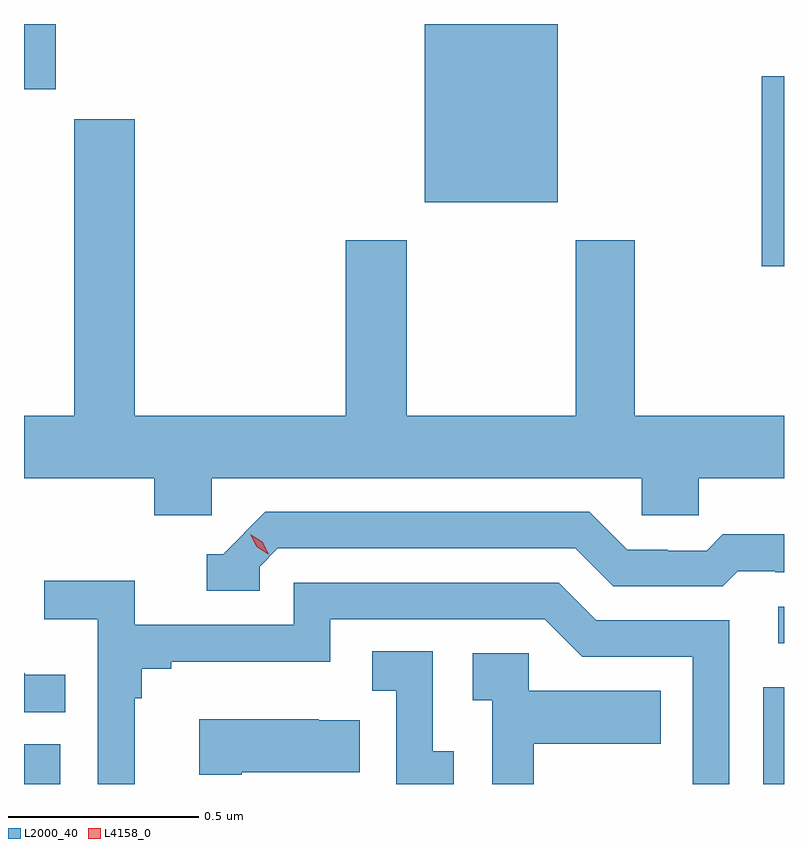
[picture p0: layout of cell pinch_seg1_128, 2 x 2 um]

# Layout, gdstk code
import gdstk
lib = gdstk.Library(unit=1e-6, precision=1e-09)
def R(c, l, rs):  # rectangles x0, y0, x1, y1
    for r in rs: c.add(gdstk.rectangle(r[:2], r[2:], *l))
def P(c, l, *ps):  # polygons
    for p in ps: c.add(gdstk.Polygon(p, *l))
L2000_40 = (2000, 40)
L4158_0 = (4158, 0)

pinch_seg1_128 = lib.new_cell('pinch_seg1_128')
R(pinch_seg1_128, L2000_40, [(1067.17,548.263,1067.266,548.367), (1069.116,548.263,1069.17,548.518), (1069.155,548.634,1069.17,548.73), (1069.112,549.626,1069.17,550.125), (1068.224,549.794,1068.574,550.263), (1067.17,550.091,1067.254,550.263)])
P(pinch_seg1_128, L2000_40, [(1067.664,549.068),(1068.795,549.068),(1068.795,548.97),(1068.945,548.97),(1068.945,549.068),(1069.17,549.068),(1069.17,549.232),(1068.777,549.232),(1068.777,549.694),(1068.622,549.694),(1068.622,549.232),(1068.177,549.232),(1068.177,549.694),(1068.017,549.694),(1068.017,549.232),(1067.462,549.232),(1067.462,550.012),(1067.302,550.012),(1067.302,549.232),(1067.17,549.232),(1067.17,549.068),(1067.513,549.068),(1067.513,548.97),(1067.664,548.97)],
  [(1067.79,548.835),(1067.838,548.883),(1068.621,548.883),(1068.72,548.784),(1069.009,548.784),(1069.048,548.823),(1069.147,548.823),(1069.147,548.82),(1069.17,548.82),(1069.17,548.92),(1069.009,548.92),(1068.967,548.877),(1068.864,548.877),(1068.864,548.88),(1068.757,548.88),(1068.658,548.979),(1067.805,548.979),(1067.694,548.868),(1067.651,548.868),(1067.651,548.772),(1067.79,548.772)],
  [(1067.461,548.489),(1067.48,548.489),(1067.48,548.566),(1067.557,548.566),(1067.557,548.585),(1067.976,548.585),(1067.976,548.697),(1068.54,548.697),(1068.639,548.598),(1068.93,548.598),(1068.93,548.263),(1069.026,548.263),(1069.026,548.694),(1068.676,548.694),(1068.577,548.793),(1067.88,548.793),(1067.88,548.682),(1067.462,548.682),(1067.462,548.798),(1067.223,548.798),(1067.223,548.696),(1067.364,548.696),(1067.364,548.263),(1067.461,548.263)],
  [(1068.301,548.349),(1068.246,548.349),(1068.246,548.612),(1068.087,548.612),(1068.087,548.509),(1068.15,548.509),(1068.15,548.263),(1068.301,548.263)],
  [(1068.511,548.369),(1068.845,548.369),(1068.845,548.509),(1068.498,548.509),(1068.498,548.607),(1068.351,548.607),(1068.351,548.483),(1068.402,548.483),(1068.402,548.263),(1068.511,548.263)],
  [(1067.279,548.551),(1067.175,548.551),(1067.17,548.556),(1067.17,548.452),(1067.279,548.452)],
  [(1067.743,548.294),(1068.053,548.294),(1068.053,548.431),(1067.945,548.431),(1067.945,548.434),(1067.631,548.434),(1067.631,548.287),(1067.743,548.287)])
P(pinch_seg1_128, L4158_0, [(1067.813,548.868),(1067.782,548.888),(1067.765,548.92),(1067.765,548.92),(1067.766,548.92),(1067.797,548.901),(1067.814,548.868),(1067.814,548.868)])

lib.write_gds('pinch_seg1_128.gds')
